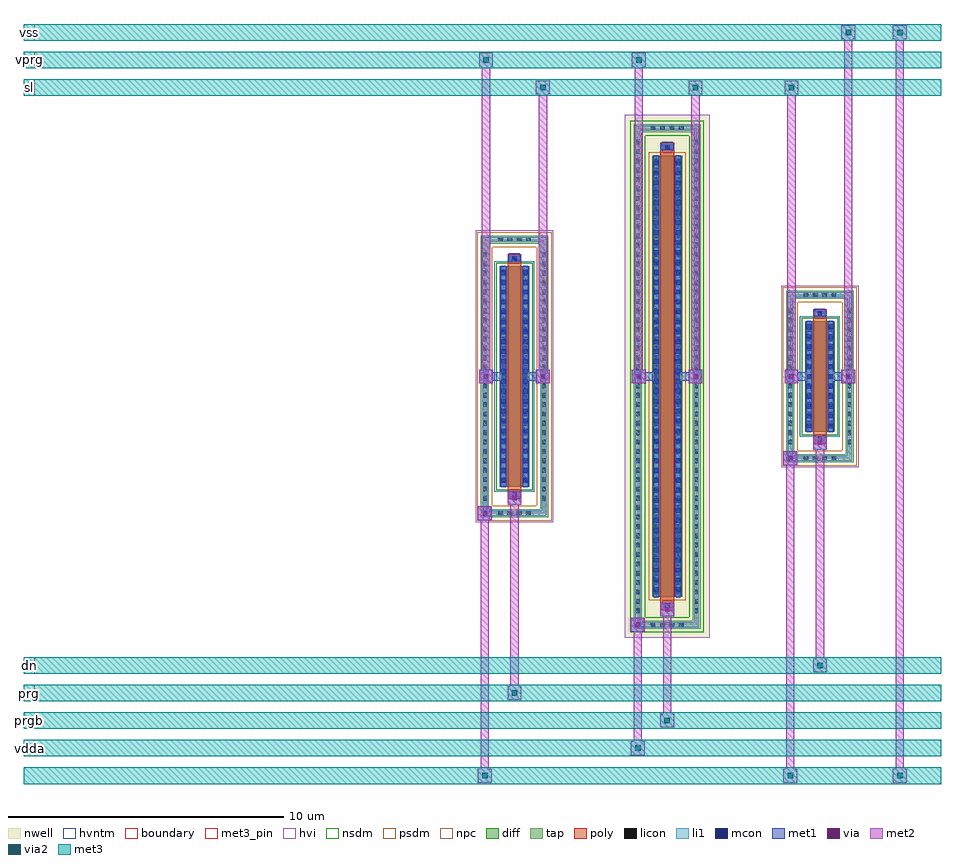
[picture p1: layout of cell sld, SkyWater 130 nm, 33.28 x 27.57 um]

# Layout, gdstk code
import gdstk
lib = gdstk.Library(unit=1e-6, precision=1e-09)
def R(c, l, rs):  # rectangles x0, y0, x1, y1
    for r in rs: c.add(gdstk.rectangle(r[:2], r[2:], *l))
def A(c, l, x, y, w, h, nx, ny, dx, dy):  # array of equal rectangles
    R(c, l, [(x+i*dx, y+j*dy, x+i*dx+w, y+j*dy+h) for i in range(nx) for j in range(ny)])
nwell = (64, 20)
diff = (65, 20)
tap = (65, 44)
poly = (66, 20)
licon = (66, 44)
li1 = (67, 20)
mcon = (67, 44)
met1 = (68, 20)
via = (68, 44)
met2 = (69, 20)
via2 = (69, 44)
met3_pin = (70, 16)
met3 = (70, 20)
hvi = (75, 20)
nsdm = (93, 44)
psdm = (94, 20)
npc = (95, 20)
hvntm = (125, 20)
boundary = (235, 4)

d_pfet_g5v0d10v5_w16_l0p = lib.new_cell('d_pfet_g5v0d10v5_w16_l0p5')
R(d_pfet_g5v0d10v5_w16_l0p, nwell, [(-1.54,-9.485,1.54,9.485)])
R(d_pfet_g5v0d10v5_w16_l0p, diff, [(-0.54,-8,0.54,8)])
R(d_pfet_g5v0d10v5_w16_l0p, tap, [(-1.21,-9.155,1.21,-8.865), (-1.21,-8.865,-0.92,8.865), (0.92,-8.865,1.21,8.865), (-1.21,8.865,1.21,9.155)])
R(d_pfet_g5v0d10v5_w16_l0p, poly, [(-0.25,-8.485,0.25,8.485)])
A(d_pfet_g5v0d10v5_w16_l0p, licon, -0.595, -9.095, 0.17, 0.17, 4, 2, 0.34, 18.02)
A(d_pfet_g5v0d10v5_w16_l0p, licon, -1.15, -8.585, 0.17, 0.17, 1, 51, 0, 0.34)
A(d_pfet_g5v0d10v5_w16_l0p, licon, 0.98, -8.585, 0.17, 0.17, 1, 51, 0, 0.34)
A(d_pfet_g5v0d10v5_w16_l0p, licon, -0.48, -7.905, 0.17, 0.17, 1, 47, 0, 0.34)
A(d_pfet_g5v0d10v5_w16_l0p, licon, 0.31, -7.905, 0.17, 0.17, 1, 47, 0, 0.34)
R(d_pfet_g5v0d10v5_w16_l0p, licon, [(-0.085,-8.405,0.085,-8.235), (-0.085,8.235,0.085,8.405)])
R(d_pfet_g5v0d10v5_w16_l0p, li1, [(-1.15,-9.095,1.15,-8.925), (-1.15,-8.925,-0.98,8.925), (0.98,-8.925,1.15,8.925), (-0.25,-8.405,0.25,-8.235), (-0.48,-8.02,-0.31,8.02), (0.31,-8.02,0.48,8.02), (-0.25,8.235,0.25,8.405), (-1.15,8.925,1.15,9.095)])
A(d_pfet_g5v0d10v5_w16_l0p, mcon, -0.48, -7.825, 0.17, 0.17, 1, 44, 0, 0.36)
A(d_pfet_g5v0d10v5_w16_l0p, mcon, 0.31, -7.825, 0.17, 0.17, 1, 44, 0, 0.36)
R(d_pfet_g5v0d10v5_w16_l0p, mcon, [(-0.085,-8.405,0.085,-8.235), (-0.085,8.235,0.085,8.405)])
R(d_pfet_g5v0d10v5_w16_l0p, met1, [(-0.23,-8.435,0.23,-8.205), (-0.51,-8,-0.28,8), (0.28,-8,0.51,8), (-0.23,8.205,0.23,8.435)])
R(d_pfet_g5v0d10v5_w16_l0p, hvi, [(-1.54,-9.485,1.54,9.485)])
R(d_pfet_g5v0d10v5_w16_l0p, nsdm, [(-1.335,-9.28,1.335,-8.74), (-1.335,-8.74,-0.795,8.74), (0.795,-8.74,1.335,8.74), (-1.335,8.74,1.335,9.28)])
R(d_pfet_g5v0d10v5_w16_l0p, psdm, [(-0.665,-8.125,0.665,8.125)])
R(d_pfet_g5v0d10v5_w16_l0p, npc, [(-0.185,-8.505,0.185,-8.135), (-0.185,8.135,0.185,8.505)])
R(d_pfet_g5v0d10v5_w16_l0p, boundary, [(-1.065,-9.01,1.065,9.01)])
d_pfet_g5v0d10v5_w16_l0p.add(gdstk.Label('B', (0,-9.01), layer=67, texttype=5))
d_pfet_g5v0d10v5_w16_l0p.add(gdstk.Label('D', (-0.395,0), layer=67, texttype=5))
d_pfet_g5v0d10v5_w16_l0p.add(gdstk.Label('S', (0.395,0), layer=67, texttype=5))
d_pfet_g5v0d10v5_w16_l0p.add(gdstk.Label('G', (0,8.32), layer=67, texttype=5))

d_nfet_g5v0d10v5_w8_l0p5 = lib.new_cell('d_nfet_g5v0d10v5_w8_l0p5')
R(d_nfet_g5v0d10v5_w8_l0p5, diff, [(-0.54,-4,0.54,4)])
R(d_nfet_g5v0d10v5_w8_l0p5, tap, [(-1.22,-5.11,1.22,-4.82), (-1.22,-4.82,-0.93,4.82), (0.93,-4.82,1.22,4.82), (-1.22,4.82,1.22,5.11)])
R(d_nfet_g5v0d10v5_w8_l0p5, poly, [(-0.25,-4.44,0.25,4.44)])
A(d_nfet_g5v0d10v5_w8_l0p5, licon, -0.595, -5.05, 0.17, 0.17, 4, 2, 0.34, 9.93)
A(d_nfet_g5v0d10v5_w8_l0p5, licon, -1.16, -4.505, 0.17, 0.17, 1, 27, 0, 0.34)
A(d_nfet_g5v0d10v5_w8_l0p5, licon, 0.99, -4.505, 0.17, 0.17, 1, 27, 0, 0.34)
A(d_nfet_g5v0d10v5_w8_l0p5, licon, -0.48, -3.825, 0.17, 0.17, 1, 23, 0, 0.34)
A(d_nfet_g5v0d10v5_w8_l0p5, licon, 0.31, -3.825, 0.17, 0.17, 1, 23, 0, 0.34)
R(d_nfet_g5v0d10v5_w8_l0p5, licon, [(-0.085,-4.36,0.085,-4.19), (-0.085,4.19,0.085,4.36)])
R(d_nfet_g5v0d10v5_w8_l0p5, li1, [(-1.16,-5.05,1.16,-4.88), (-1.16,-4.88,-0.99,4.88), (0.99,-4.88,1.16,4.88), (-0.25,-4.36,0.25,-4.19), (-0.48,-4.02,-0.31,4.02), (0.31,-4.02,0.48,4.02), (-0.25,4.19,0.25,4.36), (-1.16,4.88,1.16,5.05)])
A(d_nfet_g5v0d10v5_w8_l0p5, mcon, -0.48, -3.865, 0.17, 0.17, 1, 22, 0, 0.36)
A(d_nfet_g5v0d10v5_w8_l0p5, mcon, 0.31, -3.865, 0.17, 0.17, 1, 22, 0, 0.36)
R(d_nfet_g5v0d10v5_w8_l0p5, mcon, [(-0.085,-4.36,0.085,-4.19), (-0.085,4.19,0.085,4.36)])
R(d_nfet_g5v0d10v5_w8_l0p5, met1, [(-0.23,-4.39,0.23,-4.16), (-0.51,-4,-0.28,4), (0.28,-4,0.51,4), (-0.23,4.16,0.23,4.39)])
R(d_nfet_g5v0d10v5_w8_l0p5, hvi, [(-1.405,-5.295,1.405,5.295)])
R(d_nfet_g5v0d10v5_w8_l0p5, nsdm, [(-0.665,-4.125,0.665,4.125)])
R(d_nfet_g5v0d10v5_w8_l0p5, psdm, [(-1.345,-5.235,1.345,-4.695), (-1.345,-4.695,-0.805,4.695), (0.805,-4.695,1.345,4.695), (-1.345,4.695,1.345,5.235)])
R(d_nfet_g5v0d10v5_w8_l0p5, npc, [(-0.185,-4.46,0.185,-4.09), (-0.185,4.09,0.185,4.46)])
R(d_nfet_g5v0d10v5_w8_l0p5, hvntm, [(-0.725,-4.185,0.725,4.185)])
R(d_nfet_g5v0d10v5_w8_l0p5, boundary, [(-1.075,-4.965,1.075,4.965)])
d_nfet_g5v0d10v5_w8_l0p5.add(gdstk.Label('B', (0,-4.965), layer=67, texttype=5))
d_nfet_g5v0d10v5_w8_l0p5.add(gdstk.Label('D', (-0.395,0), layer=67, texttype=5))
d_nfet_g5v0d10v5_w8_l0p5.add(gdstk.Label('S', (0.395,0), layer=67, texttype=5))
d_nfet_g5v0d10v5_w8_l0p5.add(gdstk.Label('G', (0,4.275), layer=67, texttype=5))

d_nfet_g5v0d10v5_w4_l0p5 = lib.new_cell('d_nfet_g5v0d10v5_w4_l0p5')
R(d_nfet_g5v0d10v5_w4_l0p5, diff, [(-0.54,-2,0.54,2)])
R(d_nfet_g5v0d10v5_w4_l0p5, tap, [(-1.22,-3.11,1.22,-2.82), (-1.22,-2.82,-0.93,2.82), (0.93,-2.82,1.22,2.82), (-1.22,2.82,1.22,3.11)])
R(d_nfet_g5v0d10v5_w4_l0p5, poly, [(-0.25,-2.44,0.25,2.44)])
A(d_nfet_g5v0d10v5_w4_l0p5, licon, -0.595, -3.05, 0.17, 0.17, 4, 2, 0.34, 5.93)
A(d_nfet_g5v0d10v5_w4_l0p5, licon, -1.16, -2.465, 0.17, 0.17, 1, 15, 0, 0.34)
A(d_nfet_g5v0d10v5_w4_l0p5, licon, 0.99, -2.465, 0.17, 0.17, 1, 15, 0, 0.34)
A(d_nfet_g5v0d10v5_w4_l0p5, licon, -0.48, -1.785, 0.17, 0.17, 1, 11, 0, 0.34)
A(d_nfet_g5v0d10v5_w4_l0p5, licon, 0.31, -1.785, 0.17, 0.17, 1, 11, 0, 0.34)
R(d_nfet_g5v0d10v5_w4_l0p5, licon, [(-0.085,-2.36,0.085,-2.19), (-0.085,2.19,0.085,2.36)])
R(d_nfet_g5v0d10v5_w4_l0p5, li1, [(-1.16,-3.05,1.16,-2.88), (-1.16,-2.88,-0.99,2.88), (0.99,-2.88,1.16,2.88), (-0.25,-2.36,0.25,-2.19), (-0.48,-2.02,-0.31,2.02), (0.31,-2.02,0.48,2.02), (-0.25,2.19,0.25,2.36), (-1.16,2.88,1.16,3.05)])
A(d_nfet_g5v0d10v5_w4_l0p5, mcon, -0.48, -1.885, 0.17, 0.17, 1, 11, 0, 0.36)
A(d_nfet_g5v0d10v5_w4_l0p5, mcon, 0.31, -1.885, 0.17, 0.17, 1, 11, 0, 0.36)
R(d_nfet_g5v0d10v5_w4_l0p5, mcon, [(-0.085,-2.36,0.085,-2.19), (-0.085,2.19,0.085,2.36)])
R(d_nfet_g5v0d10v5_w4_l0p5, met1, [(-0.23,-2.39,0.23,-2.16), (-0.51,-2,-0.28,2), (0.28,-2,0.51,2), (-0.23,2.16,0.23,2.39)])
R(d_nfet_g5v0d10v5_w4_l0p5, hvi, [(-1.405,-3.295,1.405,3.295)])
R(d_nfet_g5v0d10v5_w4_l0p5, nsdm, [(-0.665,-2.125,0.665,2.125)])
R(d_nfet_g5v0d10v5_w4_l0p5, psdm, [(-1.345,-3.235,1.345,-2.695), (-1.345,-2.695,-0.805,2.695), (0.805,-2.695,1.345,2.695), (-1.345,2.695,1.345,3.235)])
R(d_nfet_g5v0d10v5_w4_l0p5, npc, [(-0.185,-2.46,0.185,-2.09), (-0.185,2.09,0.185,2.46)])
R(d_nfet_g5v0d10v5_w4_l0p5, hvntm, [(-0.725,-2.185,0.725,2.185)])
R(d_nfet_g5v0d10v5_w4_l0p5, boundary, [(-1.075,-2.965,1.075,2.965)])
d_nfet_g5v0d10v5_w4_l0p5.add(gdstk.Label('B', (0,-2.965), layer=67, texttype=5))
d_nfet_g5v0d10v5_w4_l0p5.add(gdstk.Label('D', (-0.395,0), layer=67, texttype=5))
d_nfet_g5v0d10v5_w4_l0p5.add(gdstk.Label('S', (0.395,0), layer=67, texttype=5))
d_nfet_g5v0d10v5_w4_l0p5.add(gdstk.Label('G', (0,2.275), layer=67, texttype=5))

sld = lib.new_cell('sld')
R(sld, li1, [(5.79,-9.095,5.96,-8.925), (0.24,-5.05,0.41,-4.88), (11.32,-3.05,11.49,-2.88)])
R(sld, mcon, [(5.79,-9.095,5.96,-8.925), (0.24,-5.05,0.41,-4.88), (11.32,-3.05,11.49,-2.88)])
R(sld, met1, [(5.625,-9.26,6.125,-8.76), (6.69,-8.705,7.19,-8.205), (0.075,-5.215,0.575,-4.715), (1.15,-4.66,1.65,-4.16), (11.155,-3.215,11.655,-2.715), (12.23,-2.66,12.73,-2.16), (0.12,-0.25,0.62,-0.15), (2.18,-0.25,2.68,-0.15), (5.66,-0.25,6.16,-0.15), (7.72,-0.25,8.22,-0.15), (11.2,-0.25,11.7,-0.15), (13.26,-0.25,13.76,-0.15), (0.12,-0.15,0.92,0.15), (1.88,-0.15,2.68,0.15), (5.66,-0.15,6.46,0.15), (7.42,-0.15,8.22,0.15), (11.2,-0.15,12,0.15), (12.96,-0.15,13.76,0.15), (0.12,0.15,0.62,0.25), (2.18,0.15,2.68,0.25), (5.66,0.15,6.16,0.25), (7.72,0.15,8.22,0.25), (11.2,0.15,11.7,0.25), (13.26,0.15,13.76,0.25), (12.28,2.16,12.68,2.46), (1.2,4.16,1.6,4.46), (6.74,8.205,7.14,8.505)])
R(sld, via, [(5.8,-9.085,5.95,-8.935), (6.865,-8.53,7.015,-8.38), (0.25,-5.04,0.4,-4.89), (1.325,-4.485,1.475,-4.335), (11.33,-3.04,11.48,-2.89), (12.405,-2.485,12.555,-2.335), (0.295,-0.075,0.445,0.075), (2.355,-0.075,2.505,0.075), (5.835,-0.075,5.985,0.075), (7.895,-0.075,8.045,0.075), (11.375,-0.075,11.525,0.075), (13.435,-0.075,13.585,0.075)])
R(sld, met2, [(0.075,-14.735,0.575,-14.235), (11.155,-14.735,11.655,-14.235), (15.13,-14.735,15.63,-14.235), (0.175,-14.235,0.475,-5.215), (11.255,-14.235,11.555,-3.215), (15.23,-14.235,15.53,12.235), (5.625,-13.735,6.125,-13.235), (5.725,-13.235,6.025,-9.26), (6.69,-12.735,7.19,-12.235), (6.79,-12.235,7.09,-8.705), (1.15,-11.735,1.65,-11.235), (1.25,-11.235,1.55,-4.66), (12.23,-10.735,12.73,-10.235), (12.33,-10.235,12.63,-2.66), (5.625,-9.26,6.125,-8.76), (6.69,-8.705,7.19,-8.205), (0.075,-5.215,0.575,-4.715), (1.15,-4.66,1.65,-4.16), (11.155,-3.215,11.655,-2.715), (12.23,-2.66,12.73,-2.16), (0.12,-0.25,0.62,0.25), (2.18,-0.25,2.68,0.25), (5.66,-0.25,6.16,0.25), (7.72,-0.25,8.22,0.25), (11.2,-0.25,11.7,0.25), (13.26,-0.25,13.76,0.25), (0.22,0.25,0.52,11.235), (2.28,0.25,2.58,10.235), (5.76,0.25,6.06,11.235), (7.82,0.25,8.12,10.235), (11.3,0.25,11.6,10.235), (13.36,0.25,13.66,12.235), (2.18,10.235,2.68,10.735), (7.72,10.235,8.22,10.735), (11.2,10.235,11.7,10.735), (0.12,11.235,0.62,11.735), (5.66,11.235,6.16,11.735), (13.26,12.235,13.76,12.735), (15.13,12.235,15.63,12.735)])
R(sld, via2, [(0.225,-14.585,0.425,-14.385), (11.305,-14.585,11.505,-14.385), (15.28,-14.585,15.48,-14.385), (5.775,-13.585,5.975,-13.385), (6.84,-12.585,7.04,-12.385), (1.3,-11.585,1.5,-11.385), (12.38,-10.585,12.58,-10.385), (2.33,10.385,2.53,10.585), (7.87,10.385,8.07,10.585), (11.35,10.385,11.55,10.585), (0.27,11.385,0.47,11.585), (5.81,11.385,6.01,11.585), (13.41,12.385,13.61,12.585), (15.28,12.385,15.48,12.585)])
A(sld, met3_pin, -16.4, -13.785, 0.4, 0.6, 1, 4, 0, 1)
A(sld, met3_pin, -16.4, 10.185, 0.4, 0.6, 1, 3, 0, 1)
A(sld, met3, -16.4, -14.785, 33.28, 0.6, 1, 5, 0, 1)
A(sld, met3, -16.4, 10.185, 33.28, 0.6, 1, 3, 0, 1)
sld.add(gdstk.Reference(d_pfet_g5v0d10v5_w16_l0p, (6.94,0)))
sld.add(gdstk.Reference(d_nfet_g5v0d10v5_w8_l0p5, (1.4,0)))
sld.add(gdstk.Reference(d_nfet_g5v0d10v5_w4_l0p5, (12.48,0)))
sld.add(gdstk.Label('vprg', (-16.2,11.485), layer=70, texttype=5))
sld.add(gdstk.Label('sl', (-16.2,10.485), layer=70, texttype=5))
sld.add(gdstk.Label('prg', (-16.2,-11.485), layer=70, texttype=5))
sld.add(gdstk.Label('prgb', (-16.2,-12.485), layer=70, texttype=5))
sld.add(gdstk.Label('dn', (-16.2,-10.485), layer=70, texttype=5))
sld.add(gdstk.Label('vdda', (-16.2,-13.485), layer=70, texttype=5))
sld.add(gdstk.Label('vss', (-16.2,12.485), layer=70, texttype=5))

lib.write_gds('sld.gds')
